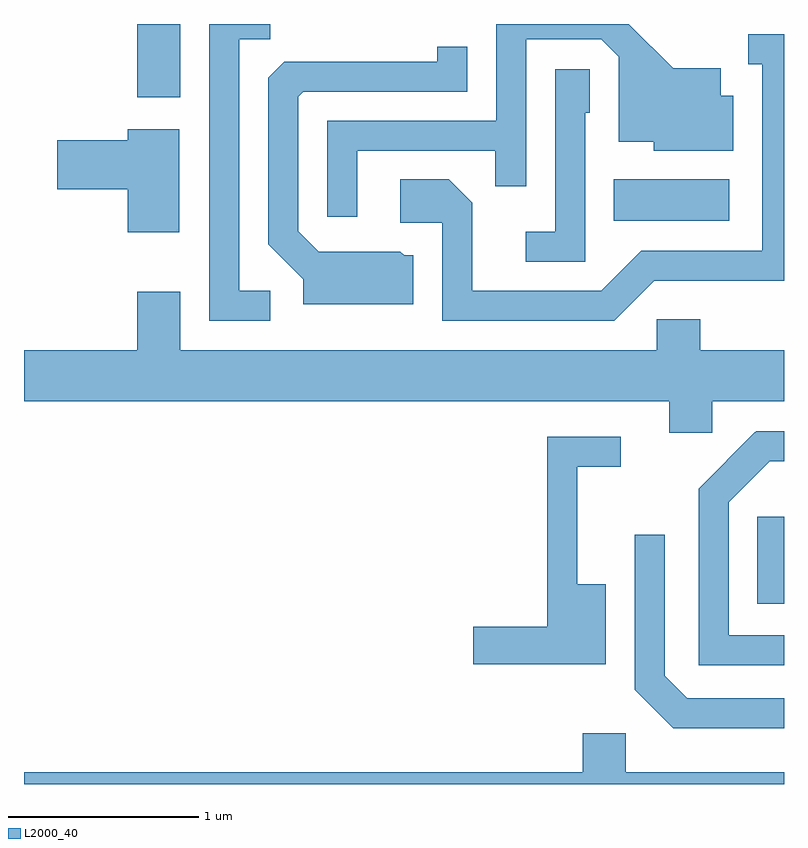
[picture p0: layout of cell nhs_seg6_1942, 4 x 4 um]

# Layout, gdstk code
import gdstk
lib = gdstk.Library(unit=1e-6, precision=1e-09)
def R(c, l, rs):  # rectangles x0, y0, x1, y1
    for r in rs: c.add(gdstk.rectangle(r[:2], r[2:], *l))
def P(c, l, *ps):  # polygons
    for p in ps: c.add(gdstk.Polygon(p, *l))
L2000_40 = (2000, 40)

nhs_seg6_1942 = lib.new_cell('nhs_seg6_1942')
R(nhs_seg6_1942, L2000_40, [(247.471,1631.111,247.611,1631.569), (246.716,1633.126,247.324,1633.344), (244.206,1633.776,244.434,1634.162)])
P(nhs_seg6_1942, L2000_40, [(245.364,1633.496),(246.091,1633.496),(246.091,1633.308),(246.254,1633.308),(246.254,1634.081),(246.649,1634.081),(246.741,1633.989),(246.741,1633.541),(246.926,1633.541),(246.926,1633.496),(247.344,1633.496),(247.344,1633.784),(247.279,1633.784),(247.279,1633.929),(247.027,1633.929),(246.794,1634.162),(246.096,1634.162),(246.096,1633.654),(245.206,1633.654),(245.206,1633.148),(245.364,1633.148)],
  [(244.908,1632.759),(244.744,1632.759),(244.744,1634.081),(244.908,1634.081),(244.908,1634.162),(244.586,1634.162),(244.586,1632.601),(244.908,1632.601)],
  [(246.927,1632.811),(247.611,1632.811),(247.611,1634.109),(247.423,1634.109),(247.423,1633.951),(247.496,1633.951),(247.496,1632.969),(246.859,1632.969),(246.649,1632.759),(245.969,1632.759),(245.969,1633.222),(245.847,1633.344),(245.591,1633.344),(245.591,1633.116),(245.811,1633.116),(245.811,1632.601),(246.717,1632.601)],
  [(245.659,1632.944),(245.612,1632.944),(245.592,1632.964),(245.162,1632.964),(245.054,1633.072),(245.054,1633.779),(245.082,1633.806),(245.944,1633.806),(245.944,1634.043),(245.786,1634.043),(245.786,1633.964),(244.982,1633.964),(244.896,1633.879),(244.896,1633.004),(245.081,1632.819),(245.081,1632.686),(245.659,1632.686)],
  [(246.564,1633.696),(246.589,1633.696),(246.589,1633.924),(246.406,1633.924),(246.406,1633.069),(246.253,1633.069),(246.253,1632.911),(246.564,1632.911)],
  [(244.429,1633.609),(244.156,1633.609),(244.156,1633.549),(243.786,1633.549),(243.786,1633.291),(244.156,1633.291),(244.156,1633.066),(244.429,1633.066)],
  [(247.234,1632.176),(247.611,1632.176),(247.611,1632.444),(247.169,1632.444),(247.169,1632.609),(246.941,1632.609),(246.941,1632.444),(244.434,1632.444),(244.434,1632.754),(244.206,1632.754),(244.206,1632.444),(243.611,1632.444),(243.611,1632.176),(247.006,1632.176),(247.006,1632.011),(247.234,1632.011)],
  [(247.611,1630.944),(247.319,1630.944),(247.319,1631.644),(247.537,1631.861),(247.611,1631.861),(247.611,1632.019),(247.464,1632.019),(247.457,1632.013),(247.161,1631.717),(247.161,1630.786),(247.611,1630.786)],
  [(246.674,1631.214),(246.524,1631.214),(246.524,1631.831),(246.753,1631.831),(246.753,1631.989),(246.366,1631.989),(246.366,1630.989),(245.976,1630.989),(245.976,1630.791),(246.674,1630.791)],
  [(247.611,1630.614),(247.102,1630.614),(246.984,1630.732),(246.984,1631.473),(246.826,1631.473),(246.826,1630.659),(247.029,1630.456),(247.611,1630.456)],
  [(247.611,1630.224),(246.779,1630.224),(246.779,1630.429),(246.551,1630.429),(246.551,1630.224),(243.611,1630.224),(243.611,1630.162),(247.611,1630.162)])

lib.write_gds('nhs_seg6_1942.gds')
